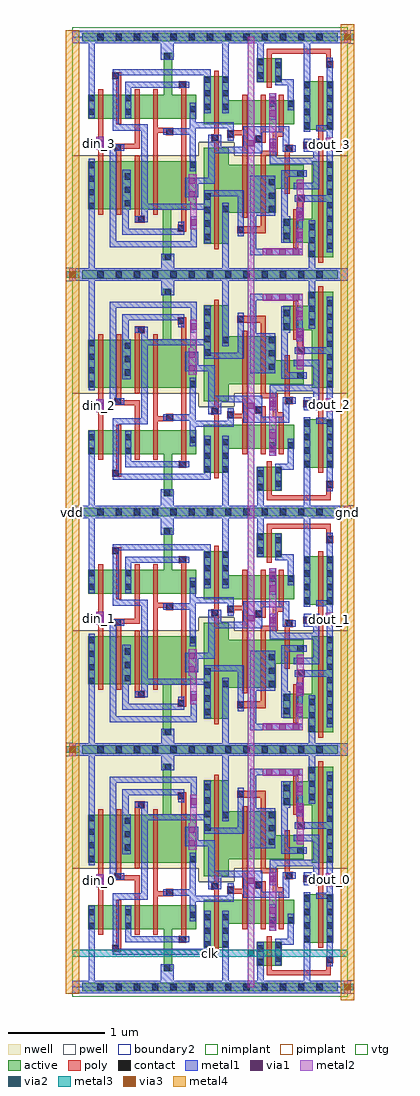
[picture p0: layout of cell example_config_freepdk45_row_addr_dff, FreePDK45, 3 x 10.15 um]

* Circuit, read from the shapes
.subckt example_config_freepdk45_row_addr_dff clk din_0 din_1 din_2 din_3 dout_0 dout_1 dout_2 dout_3 gnd vdd
M1 n1 din_0 gnd gnd nfet w=0.25u l=0.05u
M2 n2 din_1 gnd gnd nfet w=0.25u l=0.05u
M3 n3 din_2 gnd gnd nfet w=0.25u l=0.05u
M4 n4 din_3 gnd gnd nfet w=0.25u l=0.05u
M5 n5 n6 n1 gnd nfet w=0.25u l=0.05u
M6 n7 n8 n2 gnd nfet w=0.25u l=0.05u
M7 n9 n10 n3 gnd nfet w=0.25u l=0.05u
M8 n11 n12 n4 gnd nfet w=0.25u l=0.05u
M9 n13 clk n5 gnd nfet w=0.25u l=0.05u
M10 n14 clk n7 gnd nfet w=0.25u l=0.05u
M11 n15 clk n9 gnd nfet w=0.25u l=0.05u
M12 n16 clk n11 gnd nfet w=0.25u l=0.05u
M13 gnd n17 n13 gnd nfet w=0.25u l=0.05u
M14 gnd n18 n14 gnd nfet w=0.25u l=0.05u
M15 gnd n19 n15 gnd nfet w=0.25u l=0.05u
M16 gnd n20 n16 gnd nfet w=0.25u l=0.05u
M17 n17 n5 gnd gnd nfet w=0.25u l=0.05u
M18 n18 n7 gnd gnd nfet w=0.25u l=0.05u
M19 n19 n9 gnd gnd nfet w=0.25u l=0.05u
M20 n20 n11 gnd gnd nfet w=0.25u l=0.05u
M21 gnd clk n6 gnd nfet w=0.5u l=0.05u
M22 gnd clk n8 gnd nfet w=0.5u l=0.05u
M23 gnd clk n10 gnd nfet w=0.5u l=0.05u
M24 gnd clk n12 gnd nfet w=0.5u l=0.05u
M25 n21 n17 gnd gnd nfet w=0.25u l=0.05u
M26 n22 n18 gnd gnd nfet w=0.25u l=0.05u
M27 n23 n19 gnd gnd nfet w=0.25u l=0.05u
M28 n24 n20 gnd gnd nfet w=0.25u l=0.05u
M29 n25 clk n21 gnd nfet w=0.25u l=0.05u
M30 n26 clk n22 gnd nfet w=0.25u l=0.05u
M31 n27 clk n23 gnd nfet w=0.25u l=0.05u
M32 n28 clk n24 gnd nfet w=0.25u l=0.05u
M33 n29 dout_0 gnd gnd nfet w=0.25u l=0.05u
M34 n30 dout_1 gnd gnd nfet w=0.25u l=0.05u
M35 n31 dout_2 gnd gnd nfet w=0.25u l=0.05u
M36 n32 dout_3 gnd gnd nfet w=0.25u l=0.05u
M37 n29 n6 n25 gnd nfet w=0.25u l=0.05u
M38 n30 n8 n26 gnd nfet w=0.25u l=0.05u
M39 n31 n10 n27 gnd nfet w=0.25u l=0.05u
M40 n32 n12 n28 gnd nfet w=0.25u l=0.05u
M41 dout_0 n25 gnd gnd nfet w=0.5u l=0.05u
M42 dout_1 n26 gnd gnd nfet w=0.5u l=0.05u
M43 dout_2 n27 gnd gnd nfet w=0.5u l=0.05u
M44 dout_3 n28 gnd gnd nfet w=0.5u l=0.05u
M45 n33 din_0 vdd vdd pfet w=0.5u l=0.05u
M46 n34 din_1 vdd vdd pfet w=0.5u l=0.05u
M47 n35 din_2 vdd vdd pfet w=0.5u l=0.05u
M48 n36 din_3 vdd vdd pfet w=0.5u l=0.05u
M49 n5 clk n33 vdd pfet w=0.5u l=0.05u
M50 n7 clk n34 vdd pfet w=0.5u l=0.05u
M51 n9 clk n35 vdd pfet w=0.5u l=0.05u
M52 n11 clk n36 vdd pfet w=0.5u l=0.05u
M53 n37 n6 n5 vdd pfet w=0.5u l=0.05u
M54 n38 n8 n7 vdd pfet w=0.5u l=0.05u
M55 n39 n10 n9 vdd pfet w=0.5u l=0.05u
M56 n40 n12 n11 vdd pfet w=0.5u l=0.05u
M57 vdd n17 n37 vdd pfet w=0.5u l=0.05u
M58 vdd n18 n38 vdd pfet w=0.5u l=0.05u
M59 vdd n19 n39 vdd pfet w=0.5u l=0.05u
M60 vdd n20 n40 vdd pfet w=0.5u l=0.05u
M61 n17 n5 vdd vdd pfet w=0.5u l=0.05u
M62 n18 n7 vdd vdd pfet w=0.5u l=0.05u
M63 n19 n9 vdd vdd pfet w=0.5u l=0.05u
M64 n20 n11 vdd vdd pfet w=0.5u l=0.05u
M65 vdd clk n6 vdd pfet w=1u l=0.05u
M66 vdd clk n8 vdd pfet w=1u l=0.05u
M67 vdd clk n10 vdd pfet w=1u l=0.05u
M68 vdd clk n12 vdd pfet w=1u l=0.05u
M69 n41 n17 vdd vdd pfet w=0.5u l=0.05u
M70 n42 n18 vdd vdd pfet w=0.5u l=0.05u
M71 n43 n19 vdd vdd pfet w=0.5u l=0.05u
M72 n44 n20 vdd vdd pfet w=0.5u l=0.05u
M73 n25 n6 n41 vdd pfet w=0.5u l=0.05u
M74 n26 n8 n42 vdd pfet w=0.5u l=0.05u
M75 n27 n10 n43 vdd pfet w=0.5u l=0.05u
M76 n28 n12 n44 vdd pfet w=0.5u l=0.05u
M77 n45 clk n25 vdd pfet w=0.25u l=0.05u
M78 n46 clk n26 vdd pfet w=0.25u l=0.05u
M79 n47 clk n27 vdd pfet w=0.25u l=0.05u
M80 n48 clk n28 vdd pfet w=0.25u l=0.05u
M81 vdd dout_0 n45 vdd pfet w=0.25u l=0.05u
M82 vdd dout_1 n46 vdd pfet w=0.25u l=0.05u
M83 vdd dout_2 n47 vdd pfet w=0.25u l=0.05u
M84 vdd dout_3 n48 vdd pfet w=0.25u l=0.05u
M85 dout_0 n25 vdd vdd pfet w=1u l=0.05u
M86 dout_1 n26 vdd vdd pfet w=1u l=0.05u
M87 dout_2 n27 vdd vdd pfet w=1u l=0.05u
M88 dout_3 n28 vdd vdd pfet w=1u l=0.05u
.ends

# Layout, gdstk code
import gdstk
lib = gdstk.Library(unit=1e-6, precision=5e-10)
def R(c, l, rs):  # rectangles x0, y0, x1, y1
    for r in rs: c.add(gdstk.rectangle(r[:2], r[2:], *l))
def A(c, l, x, y, w, h, nx, ny, dx, dy):  # array of equal rectangles
    R(c, l, [(x+i*dx, y+j*dy, x+i*dx+w, y+j*dy+h) for i in range(nx) for j in range(ny)])
def P(c, l, *ps):  # polygons
    for p in ps: c.add(gdstk.Polygon(p, *l))
active = (1, 0)
pwell = (2, 0)
nwell = (3, 0)
nimplant = (4, 0)
pimplant = (5, 0)
vtg = (6, 0)
poly = (9, 0)
contact = (10, 0)
metal1 = (11, 0)
via1 = (12, 0)
metal2 = (13, 0)
via2 = (14, 0)
metal3 = (15, 0)
via3 = (16, 0)
metal4 = (17, 0)
boundary2 = (239, 0)

dff = lib.new_cell('dff')
A(dff, active, 0.2675, 0.6, 0.05, 0.25, 4, 1, 0.19, 0)
A(dff, active, 0.3175, 0.6, 0.14, 0.25, 3, 1, 0.19, 0)
A(dff, active, 1.7675, 0.6575, 0.05, 0.25, 3, 1, 0.19, 0)
A(dff, active, 0.2675, 1.2925, 0.05, 0.5, 4, 1, 0.19, 0)
A(dff, active, 0.3175, 1.2925, 0.14, 0.5, 3, 1, 0.19, 0)
R(dff, active, [(0.1,-0.045,2.76,0.045), (1.9175,0.2225,2.0225,0.4725), (2.0225,0.2225,2.0725,0.4725), (2.0725,0.2225,2.1775,0.4725), (1.3675,0.4075,1.4725,0.9075), (1.4725,0.4075,1.5225,0.9075), (2.4025,0.4625,2.5575,0.9625), (2.5575,0.4625,2.6075,0.9625), (2.6075,0.4625,2.7125,0.9625), (0.1625,0.6,0.2675,0.85), (1.1325,0.6,1.1825,0.85), (1.1825,0.6,1.2875,0.85), (1.8175,0.6575,1.9575,0.9075), (2.0075,0.6575,2.1475,0.9075), (2.1975,0.6575,2.3075,0.9075), (1.3675,1.15,1.4725,2.15), (1.4725,1.15,1.5225,2.15), (0.1625,1.2925,0.2675,1.7925), (1.1325,1.2925,1.1825,1.7925), (1.1825,1.2925,1.2875,1.7925), (2.5575,1.2925,2.6075,2.2925), (2.6075,1.2925,2.7125,2.2925), (1.7675,1.3275,1.8175,1.8275), (1.8175,1.3275,1.9575,1.8275), (1.9575,1.3275,2.0075,1.8275), (2.2075,1.3275,2.2575,1.5775), (2.2575,1.3275,2.4075,1.5775), (2.1925,1.8925,2.2975,2.1425), (2.2975,1.8925,2.3475,2.1425), (0.1,2.425,2.76,2.515)])
P(dff, active, [(0.8875,1.2925),(0.8875,1.7925),(0.9375,1.7925),(0.9375,2.3225),(1.0275,2.3225),(1.0275,1.7925),(1.1325,1.7925),(1.1325,1.2925)],
  [(1.5225,1.15),(1.5225,2.15),(1.6275,2.15),(1.6275,1.8275),(1.7675,1.8275),(1.7675,1.3275),(1.6275,1.3275),(1.6275,1.15)],
  [(2.0075,1.3275),(2.0075,1.8275),(2.1125,1.8275),(2.1125,1.5775),(2.2075,1.5775),(2.2075,1.3275)],
  [(2.4875,1.2925),(2.4875,1.8925),(2.3475,1.8925),(2.3475,2.1425),(2.4525,2.1425),(2.4525,2.2925),(2.5575,2.2925),(2.5575,1.2925)],
  [(0.9475,0.165),(0.9475,0.6),(0.8875,0.6),(0.8875,0.85),(1.1325,0.85),(1.1325,0.6),(1.0375,0.6),(1.0375,0.165)],
  [(1.5225,0.4075),(1.5225,0.9075),(1.7675,0.9075),(1.7675,0.6575),(1.6275,0.6575),(1.6275,0.4075)])
P(dff, pwell, [(0,-0.1),(0,1.235),(1.3125,1.235),(1.3125,1.095),(1.6825,1.095),(1.6825,1.235),(2.86,1.235),(2.86,-0.1)])
P(dff, nwell, [(1.3125,1.095),(1.3125,1.235),(0,1.235),(0,2.57),(2.86,2.57),(2.86,1.235),(1.6825,1.235),(1.6825,1.095)])
A(dff, nimplant, 0.2675, 0.6, 0.05, 0.25, 4, 1, 0.19, 0)
A(dff, nimplant, 0.3175, 0.6, 0.14, 0.25, 3, 1, 0.19, 0)
A(dff, nimplant, 1.7675, 0.6575, 0.05, 0.25, 3, 1, 0.19, 0)
R(dff, nimplant, [(1.9175,0.2225,2.0225,0.4725), (2.0225,0.2225,2.0725,0.4725), (2.0725,0.2225,2.1775,0.4725), (1.3675,0.4075,1.4725,0.9075), (1.4725,0.4075,1.5225,0.9075), (2.4025,0.4625,2.5575,0.9625), (2.5575,0.4625,2.6075,0.9625), (2.6075,0.4625,2.7125,0.9625), (0.1625,0.6,0.2675,0.85), (1.1325,0.6,1.1825,0.85), (1.1825,0.6,1.2875,0.85), (1.8175,0.6575,1.9575,0.9075), (2.0075,0.6575,2.1475,0.9075), (2.1975,0.6575,2.3075,0.9075), (0.1,2.425,2.76,2.515)])
P(dff, nimplant, [(0.9475,0.165),(0.9475,0.6),(0.8875,0.6),(0.8875,0.85),(1.1325,0.85),(1.1325,0.6),(1.0375,0.6),(1.0375,0.165)],
  [(1.5225,0.4075),(1.5225,0.9075),(1.7675,0.9075),(1.7675,0.6575),(1.6275,0.6575),(1.6275,0.4075)])
A(dff, pimplant, 0.2675, 1.2925, 0.05, 0.5, 4, 1, 0.19, 0)
A(dff, pimplant, 0.3175, 1.2925, 0.14, 0.5, 3, 1, 0.19, 0)
R(dff, pimplant, [(0.1,-0.045,2.76,0.045), (1.3675,1.15,1.4725,2.15), (1.4725,1.15,1.5225,2.15), (0.1625,1.2925,0.2675,1.7925), (1.1325,1.2925,1.1825,1.7925), (1.1825,1.2925,1.2875,1.7925), (2.5575,1.2925,2.6075,2.2925), (2.6075,1.2925,2.7125,2.2925), (1.7675,1.3275,1.8175,1.8275), (1.8175,1.3275,1.9575,1.8275), (1.9575,1.3275,2.0075,1.8275), (2.2075,1.3275,2.2575,1.5775), (2.2575,1.3275,2.4075,1.5775), (2.1925,1.8925,2.2975,2.1425), (2.2975,1.8925,2.3475,2.1425)])
P(dff, pimplant, [(0.8875,1.2925),(0.8875,1.7925),(0.9375,1.7925),(0.9375,2.3225),(1.0275,2.3225),(1.0275,1.7925),(1.1325,1.7925),(1.1325,1.2925)],
  [(1.5225,1.15),(1.5225,2.15),(1.6275,2.15),(1.6275,1.8275),(1.7675,1.8275),(1.7675,1.3275),(1.6275,1.3275),(1.6275,1.15)],
  [(2.0075,1.3275),(2.0075,1.8275),(2.1125,1.8275),(2.1125,1.5775),(2.2075,1.5775),(2.2075,1.3275)],
  [(2.4875,1.2925),(2.4875,1.8925),(2.3475,1.8925),(2.3475,2.1425),(2.4525,2.1425),(2.4525,2.2925),(2.5575,2.2925),(2.5575,1.2925)])
R(dff, vtg, [(0,-0.1,2.86,2.57)])
A(dff, poly, 0.2675, 0.6, 0.05, 0.25, 4, 1, 0.19, 0)
A(dff, poly, 1.7675, 0.6025, 0.05, 0.055, 3, 1, 0.19, 0)
A(dff, poly, 1.7675, 0.6575, 0.05, 0.25, 3, 1, 0.19, 0)
A(dff, poly, 0.2675, 1.2925, 0.05, 0.5, 4, 1, 0.19, 0)
R(dff, poly, [(2.0225,0.2225,2.0725,0.4725), (1.4725,0.3525,1.5225,0.4075), (1.4725,0.4075,1.5225,0.9075), (2.5575,0.4075,2.6075,0.4625), (2.5575,0.4625,2.6075,0.9625), (2.0225,0.4725,2.0725,0.5275), (0.2675,0.545,0.3175,0.6), (0.6475,0.545,0.6975,0.6), (0.8375,0.545,0.8875,0.6), (1.1325,0.6,1.1825,0.85), (0.4575,0.85,0.5075,0.905), (1.1325,0.85,1.1825,1.2925), (1.4725,1.15,1.5225,2.15), (0.6475,1.2375,0.6975,1.2925), (1.1325,1.2925,1.1825,1.7925), (2.5575,1.2925,2.6075,2.2925), (1.7675,1.3275,1.8175,1.8275), (1.9575,1.3275,2.0075,1.8275), (2.2075,1.3275,2.2575,1.5775), (2.2075,1.5775,2.2575,1.6325), (0.2675,1.7925,0.3175,1.8475), (0.4575,1.7925,0.5075,1.8475), (0.8375,1.7925,0.8875,1.8475), (1.7675,1.8275,1.8175,1.8825), (2.2975,1.8925,2.3475,2.1425), (2.2975,2.1425,2.3475,2.1975), (1.4725,2.15,1.5225,2.205), (2.5575,2.2925,2.6075,2.3475)])
P(dff, poly, [(0.2675,0.85),(0.2675,1.0675),(0.2425,1.0675),(0.2425,1.1425),(0.2675,1.1425),(0.2675,1.2925),(0.3175,1.2925),(0.3175,0.85)],
  [(0.4125,0.365),(0.4125,0.44),(0.4575,0.44),(0.4575,0.6),(0.5075,0.6),(0.5075,0.365)],
  [(0.6475,1.7925),(0.6475,1.9325),(0.7525,1.9325),(0.7525,1.8575),(0.6975,1.8575),(0.6975,1.7925)],
  [(0.6475,0.85),(0.6475,1.1125),(0.4325,1.1125),(0.4325,1.1875),(0.4575,1.1875),(0.4575,1.2925),(0.5075,1.2925),(0.5075,1.1625),(0.6975,1.1625),(0.6975,0.85)],
  [(0.8375,0.85),(0.8375,1.2925),(0.8875,1.2925),(0.8875,0.995),(0.9725,0.995),(0.9725,1.02),(1.0475,1.02),(1.0475,0.945),(0.8875,0.945),(0.8875,0.85)],
  [(1.1325,1.7925),(1.1325,1.9525),(1.0925,1.9525),(1.0925,2.0275),(1.1825,2.0275),(1.1825,1.7925)],
  [(1.1075,0.46),(1.1075,0.535),(1.1325,0.535),(1.1325,0.6),(1.1825,0.6),(1.1825,0.46)],
  [(1.4725,0.9075),(1.4725,1.01),(1.4425,1.01),(1.4425,1.085),(1.4725,1.085),(1.4725,1.15),(1.5225,1.15),(1.5225,0.9075)],
  [(1.7675,0.9075),(1.7675,0.9725),(1.6075,0.9725),(1.6075,1.0475),(1.6825,1.0475),(1.6825,1.0225),(1.7675,1.0225),(1.7675,1.3275),(1.8175,1.3275),(1.8175,0.9075)],
  [(1.9575,1.8275),(1.9575,1.9675),(1.7125,1.9675),(1.7125,2.0425),(2.0075,2.0425),(2.0075,1.8275)],
  [(1.9575,0.9075),(1.9575,1.0225),(1.9025,1.0225),(1.9025,1.0975),(2.0075,1.0975),(2.0075,0.9075)],
  [(2.3425,1.6425),(2.3425,1.7925),(2.2975,1.7925),(2.2975,1.8925),(2.3475,1.8925),(2.3475,1.8425),(2.3925,1.8425),(2.3925,1.7175),(2.4175,1.7175),(2.4175,1.6425)],
  [(2.2075,1.1225),(2.2075,1.3275),(2.2575,1.3275),(2.2575,1.1975),(2.2925,1.1975),(2.2925,1.1225)],
  [(2.0225,0.1225),(2.0225,0.2225),(2.0725,0.2225),(2.0725,0.1725),(2.6375,0.1725),(2.6375,0.3225),(2.7125,0.3225),(2.7125,0.2475),(2.6875,0.2475),(2.6875,0.1225)],
  [(2.1475,0.9075),(2.1475,0.9875),(2.0825,0.9875),(2.0825,1.1825),(1.9575,1.1825),(1.9575,1.3275),(2.0075,1.3275),(2.0075,1.2325),(2.1325,1.2325),(2.1325,1.0375),(2.1975,1.0375),(2.1975,0.9075)],
  [(2.5575,0.9625),(2.5575,1.0875),(2.3975,1.0875),(2.3975,1.1625),(2.4725,1.1625),(2.4725,1.1375),(2.5575,1.1375),(2.5575,1.2925),(2.6075,1.2925),(2.6075,0.9625)])
A(dff, contact, 0.2575, -0.0325, 0.065, 0.065, 13, 2, 0.19, 2.47)
A(dff, contact, 1.3725, 0.4125, 0.065, 0.065, 1, 3, 0, 0.14)
A(dff, contact, 1.5575, 0.4125, 0.065, 0.065, 1, 3, 0, 0.14)
A(dff, contact, 2.4075, 0.4675, 0.065, 0.065, 1, 4, 0, 0.14)
A(dff, contact, 2.6425, 0.4675, 0.065, 0.065, 1, 4, 0, 0.14)
A(dff, contact, 2.6425, 1.2975, 0.065, 0.065, 1, 7, 0, 0.14)
A(dff, contact, 0.1675, 1.3025, 0.065, 0.065, 1, 4, 0, 0.14)
A(dff, contact, 0.5425, 1.4175, 0.065, 0.065, 1, 3, 0, 0.14)
A(dff, contact, 2.0425, 1.4775, 0.065, 0.065, 1, 3, 0, 0.14)
A(dff, contact, 1.3725, 1.6275, 0.065, 0.065, 1, 4, 0, 0.14)
A(dff, contact, 2.4575, 1.9425, 0.065, 0.065, 1, 3, 0, 0.14)
R(dff, contact, [(0.9525,0.17,1.0175,0.235), (1.9225,0.2275,1.9875,0.2925), (2.6425,0.2525,2.7075,0.3175), (2.1075,0.2625,2.1725,0.3275), (1.9225,0.3675,1.9875,0.4325), (0.4175,0.37,0.4825,0.435), (2.1075,0.4025,2.1725,0.4675), (1.1125,0.465,1.1775,0.53), (0.1675,0.605,0.2325,0.67), (0.5475,0.605,0.6125,0.67), (2.0475,0.6625,2.1125,0.7275), (2.2375,0.6625,2.3025,0.7275), (1.2175,0.72,1.2825,0.785), (0.1675,0.745,0.2325,0.81), (0.5475,0.745,0.6125,0.81), (0.9775,0.95,1.0425,1.015), (1.6125,0.9775,1.6775,1.0425), (1.4475,1.015,1.5125,1.08), (1.9075,1.0275,1.9725,1.0925), (0.2475,1.0725,0.3125,1.1375), (2.4025,1.0925,2.4675,1.1575), (0.4375,1.1175,0.5025,1.1825), (2.2225,1.1275,2.2875,1.1925), (1.2175,1.2975,1.2825,1.3625), (2.3375,1.3875,2.4025,1.4525), (2.3475,1.6475,2.4125,1.7125), (1.5575,1.7575,1.6225,1.8225), (0.6825,1.8625,0.7475,1.9275), (2.1975,1.8975,2.2625,1.9625), (1.0975,1.9575,1.1625,2.0225), (1.7175,1.9725,1.7825,2.0375), (2.1975,2.0375,2.2625,2.1025), (0.9575,2.2525,1.0225,2.3175)])
R(dff, metal1, [(0,-0.065,2.86,0.065), (0,-0.065,2.86,0.065), (2.0475,0.5875,2.1125,0.8625), (2.6425,0.915,2.7075,1.1275), (1.7775,0.9275,1.9725,1.2075), (0.245,1.0375,0.3225,1.1725), (2.6325,1.0475,2.71,1.1825), (2.3275,1.7775,2.3925,2.1275), (0,2.405,2.76,2.535), (0,2.405,2.76,2.535)])
P(dff, metal1, [(0.1675,1.2675),(0.1675,2.405),(0.1,2.405),(0.1,2.535),(2.86,2.535),(2.86,2.405),(2.5225,2.405),(2.5225,1.9075),(2.4575,1.9075),(2.4575,2.405),(1.6225,2.405),(1.6225,1.7225),(1.5575,1.7225),(1.5575,2.405),(1.0575,2.405),(1.0575,2.2525),(0.9225,2.2525),(0.9225,2.405),(0.2325,2.405),(0.2325,1.2675)],
  [(0.1,-0.065),(0.1,0.065),(0.1675,0.065),(0.1675,0.845),(0.2325,0.845),(0.2325,0.065),(0.9175,0.065),(0.9175,0.235),(1.0525,0.235),(1.0525,0.065),(1.5575,0.065),(1.5575,0.7925),(1.6225,0.7925),(1.6225,0.065),(1.9225,0.065),(1.9225,0.4675),(1.9875,0.4675),(1.9875,0.065),(2.4075,0.065),(2.4075,0.9875),(2.4725,0.9875),(2.4725,0.065),(2.76,0.065),(2.76,-0.065)],
  [(0.4175,0.335),(0.4175,0.975),(0.7175,0.975),(0.7175,1.8625),(0.6475,1.8625),(0.6475,1.9275),(0.7825,1.9275),(0.7825,1.7975),(1.3725,1.7975),(1.3725,2.1475),(1.4375,2.1475),(1.4375,1.6575),(1.7175,1.6575),(1.7175,2.0725),(1.7825,2.0725),(1.7825,1.5925),(1.3725,1.5925),(1.3725,1.7325),(0.7825,1.7325),(0.7825,0.91),(0.4825,0.91),(0.4825,0.4),(1.3725,0.4),(1.3725,0.7925),(1.4375,0.7925),(1.4375,0.335)],
  [(1.7775,0.9275),(1.7775,1.1425),(1.5475,1.1425),(1.5475,1.015),(1.4125,1.015),(1.4125,1.4625),(1.1725,1.4625),(1.1725,1.6675),(1.3075,1.6675),(1.3075,1.5275),(1.4775,1.5275),(1.4775,1.2075),(1.9725,1.2075),(1.9725,0.9925),(2.1875,0.9925),(2.1875,1.1925),(2.3225,1.1925),(2.3225,1.1275),(2.2525,1.1275),(2.2525,0.9275)],
  [(0.3875,1.1175),(0.3875,2.1875),(1.2925,2.1875),(1.2925,1.8625),(1.2275,1.8625),(1.2275,2.1225),(0.4525,2.1225),(0.4525,1.1825),(0.5375,1.1825),(0.5375,1.1175)],
  [(0.5175,1.3825),(0.5175,2.0575),(1.1625,2.0575),(1.1625,1.9225),(1.0975,1.9225),(1.0975,1.9925),(0.5825,1.9925),(0.5825,1.7975),(0.6075,1.7975),(0.6075,1.3825)],
  [(0.5475,0.465),(0.5475,0.845),(0.6125,0.845),(0.6125,0.53),(1.2125,0.53),(1.2125,0.465)],
  [(1.2175,0.685),(1.2175,0.95),(0.9425,0.95),(0.9425,1.015),(1.2175,1.015),(1.2175,1.3975),(1.2825,1.3975),(1.2825,0.95),(1.6125,0.95),(1.6125,1.0775),(1.6775,1.0775),(1.6775,0.885),(1.2825,0.885),(1.2825,0.685)],
  [(1.8475,1.4425),(1.8475,2.2675),(2.3925,2.2675),(2.3925,2.2025),(1.9125,2.2025),(1.9125,1.8575),(2.1075,1.8575),(2.1075,1.4425)],
  [(2.0525,1.0575),(2.0525,1.3225),(2.5025,1.3225),(2.5025,1.5175),(2.3025,1.5175),(2.3025,1.5825),(2.5675,1.5825),(2.5675,1.0575),(2.4025,1.0575),(2.4025,1.1925),(2.5025,1.1925),(2.5025,1.2575),(2.1175,1.2575),(2.1175,1.0575)],
  [(2.1725,1.3875),(2.1725,2.1375),(2.2625,2.1375),(2.2625,1.8625),(2.2375,1.8625),(2.2375,1.4525),(2.4375,1.4525),(2.4375,1.3875)],
  [(2.6425,0.2175),(2.6425,0.9175),(2.5375,0.9175),(2.5375,0.9825),(2.6425,0.9825),(2.6425,1.6475),(2.3125,1.6475),(2.3125,1.7125),(2.6425,1.7125),(2.6425,2.2375),(2.7075,2.2375),(2.7075,0.2175)],
  [(2.1075,0.2275),(2.1075,0.5025),(2.2375,0.5025),(2.2375,0.7625),(2.3025,0.7625),(2.3025,0.4375),(2.1725,0.4375),(2.1725,0.2275)])
A(dff, via1, 2.0125, 2.2025, 0.065, 0.065, 3, 1, 0.14, 0)
R(dff, via1, [(2.0475,0.6225,2.1125,0.6875), (2.0475,0.7625,2.1125,0.8275), (0.2475,1.0725,0.3125,1.1375), (1.825,1.0725,1.89,1.1375), (2.64,1.0825,2.705,1.1475), (2.0525,1.0925,2.1175,1.1575), (1.2075,1.4625,1.2725,1.5275), (2.3375,1.5175,2.4025,1.5825), (1.2075,1.6025,1.2725,1.6675), (2.3275,1.8125,2.3925,1.8775), (1.2275,1.8975,1.2925,1.9625), (2.3275,2.0275,2.3925,2.0925)])
R(dff, metal2, [(2.0475,0.5875,2.1175,1.1925), (0.245,1.0375,0.3225,1.1725), (0.245,1.0375,0.3225,1.1725), (1.82,1.0375,1.8975,1.1725), (1.82,1.0375,1.8975,1.1725), (2.6325,1.0475,2.71,1.1825), (2.6325,1.0475,2.71,1.1825)])
P(dff, metal2, [(1.2075,1.4275),(1.2075,1.7025),(1.2225,1.7025),(1.2225,1.9975),(1.2925,1.9975),(1.2925,1.4275)],
  [(2.3225,1.9925),(2.3225,2.1975),(1.9775,2.1975),(1.9775,2.2675),(2.3925,2.2675),(2.3925,1.9925)],
  [(2.3325,1.4825),(2.3325,1.7775),(2.3275,1.7775),(2.3275,1.9125),(2.4025,1.9125),(2.4025,1.4825)])
R(dff, boundary2, [(0,0,2.86,2.47)])
dff.add(gdstk.Label('clk', (1.865,1.15), layer=13, texttype=0))
dff.add(gdstk.Label('D', (0.295,1.15), layer=13, texttype=0))
dff.add(gdstk.Label('Q', (2.685,1.1), layer=13, texttype=0))
dff.add(gdstk.Label('gnd', (1.645,0.0425), layer=11, texttype=0))
dff.add(gdstk.Label('vdd', (2.035,2.5325), layer=11, texttype=0))
dff.add(gdstk.Label('D', (0.284,1.105), layer=13, texttype=0))
dff.add(gdstk.Label('Q', (2.671,1.115), layer=13, texttype=0))
dff.add(gdstk.Label('clk', (1.859,1.105), layer=13, texttype=0))
dff.add(gdstk.Label('vdd', (1.38,2.47), layer=11, texttype=0))
dff.add(gdstk.Label('gnd', (1.43,0), layer=11, texttype=0))

example_config_freepdk45 = lib.new_cell('example_config_freepdk45_contact_17')
R(example_config_freepdk45, metal1, [(0,0.035,0.135,0.1)])
R(example_config_freepdk45, via1, [(0.035,0.035,0.1,0.1)])
R(example_config_freepdk45, metal2, [(0.0325,0,0.1025,0.135)])
R(example_config_freepdk45, boundary2, [(0,0,0.135,0.135)])

c_example_config_freepdk45 = lib.new_cell('example_config_freepdk45_contact_18')
R(c_example_config_freepdk45, metal2, [(0.0325,0,0.1025,0.135)])
R(c_example_config_freepdk45, via2, [(0.035,0.035,0.1,0.1)])
R(c_example_config_freepdk45, metal3, [(0,0.0325,0.135,0.1025)])
R(c_example_config_freepdk45, boundary2, [(0,0,0.135,0.135)])

c_example_config_freepdk45_ = lib.new_cell('example_config_freepdk45_contact_21')
R(c_example_config_freepdk45_, metal3, [(0,0.035,0.14,0.105)])
R(c_example_config_freepdk45_, via3, [(0.035,0.035,0.105,0.105)])
R(c_example_config_freepdk45_, metal4, [(0,0,0.14,0.14)])
R(c_example_config_freepdk45_, boundary2, [(0,0,0.14,0.14)])

c_example_config_freepdk45__ = lib.new_cell('example_config_freepdk45_row_addr_dff')
R(c_example_config_freepdk45__, metal2, [(1.82,0,1.89,9.88), (0.245,1.0375,0.3225,1.1725), (2.6325,1.0475,2.71,1.1825), (2.6325,3.7575,2.71,3.8925), (0.245,3.7675,0.3225,3.9025), (0.245,5.9775,0.3225,6.1125), (2.6325,5.9875,2.71,6.1225), (2.6325,8.6975,2.71,8.8325), (0.245,8.7075,0.3225,8.8425)])
R(c_example_config_freepdk45__, metal3, [(0,0.315,2.86,0.385)])
R(c_example_config_freepdk45__, metal4, [(2.79,-0.135,2.93,10.015), (-0.07,-0.07,0.07,9.95)])
R(c_example_config_freepdk45__, boundary2, [(0,0,2.86,9.88)])
c_example_config_freepdk45__.add(gdstk.Reference(dff, (0,0)))
c_example_config_freepdk45__.add(gdstk.Reference(dff, (0,4.94), x_reflection=True))
c_example_config_freepdk45__.add(gdstk.Reference(dff, (0,4.94)))
c_example_config_freepdk45__.add(gdstk.Reference(dff, (0,9.88), x_reflection=True))
c_example_config_freepdk45__.add(gdstk.Reference(example_config_freepdk45, (-0.0675,2.4025)))
c_example_config_freepdk45__.add(gdstk.Reference(c_example_config_freepdk45, (-0.0675,2.4025)))
c_example_config_freepdk45__.add(gdstk.Reference(c_example_config_freepdk45_, (-0.07,2.4)))
c_example_config_freepdk45__.add(gdstk.Reference(example_config_freepdk45, (-0.0675,2.4025)))
c_example_config_freepdk45__.add(gdstk.Reference(c_example_config_freepdk45, (-0.0675,2.4025)))
c_example_config_freepdk45__.add(gdstk.Reference(c_example_config_freepdk45_, (-0.07,2.4)))
c_example_config_freepdk45__.add(gdstk.Reference(example_config_freepdk45, (-0.0675,7.3425)))
c_example_config_freepdk45__.add(gdstk.Reference(c_example_config_freepdk45, (-0.0675,7.3425)))
c_example_config_freepdk45__.add(gdstk.Reference(c_example_config_freepdk45_, (-0.07,7.34)))
c_example_config_freepdk45__.add(gdstk.Reference(example_config_freepdk45, (-0.0675,7.3425)))
c_example_config_freepdk45__.add(gdstk.Reference(c_example_config_freepdk45, (-0.0675,7.3425)))
c_example_config_freepdk45__.add(gdstk.Reference(c_example_config_freepdk45_, (-0.07,7.34)))
c_example_config_freepdk45__.add(gdstk.Reference(example_config_freepdk45, (2.7925,-0.0675)))
c_example_config_freepdk45__.add(gdstk.Reference(c_example_config_freepdk45, (2.7925,-0.0675)))
c_example_config_freepdk45__.add(gdstk.Reference(c_example_config_freepdk45_, (2.79,-0.07)))
c_example_config_freepdk45__.add(gdstk.Reference(example_config_freepdk45, (2.7925,4.8725)))
c_example_config_freepdk45__.add(gdstk.Reference(c_example_config_freepdk45, (2.7925,4.8725)))
c_example_config_freepdk45__.add(gdstk.Reference(c_example_config_freepdk45_, (2.79,4.87)))
c_example_config_freepdk45__.add(gdstk.Reference(example_config_freepdk45, (2.7925,4.8725)))
c_example_config_freepdk45__.add(gdstk.Reference(c_example_config_freepdk45, (2.7925,4.8725)))
c_example_config_freepdk45__.add(gdstk.Reference(c_example_config_freepdk45_, (2.79,4.87)))
c_example_config_freepdk45__.add(gdstk.Reference(example_config_freepdk45, (2.7925,9.8125)))
c_example_config_freepdk45__.add(gdstk.Reference(c_example_config_freepdk45, (2.7925,9.8125)))
c_example_config_freepdk45__.add(gdstk.Reference(c_example_config_freepdk45_, (2.79,9.81)))
c_example_config_freepdk45__.add(gdstk.Reference(c_example_config_freepdk45, (1.79,0.2825)))
c_example_config_freepdk45__.add(gdstk.Label('vdd', (0,4.94), layer=17, texttype=0))
c_example_config_freepdk45__.add(gdstk.Label('gnd', (2.86,4.94), layer=17, texttype=0))
c_example_config_freepdk45__.add(gdstk.Label('din_0', (0.284,1.105), layer=13, texttype=0))
c_example_config_freepdk45__.add(gdstk.Label('dout_0', (2.671,1.115), layer=13, texttype=0))
c_example_config_freepdk45__.add(gdstk.Label('din_1', (0.284,3.835), layer=13, texttype=0))
c_example_config_freepdk45__.add(gdstk.Label('dout_1', (2.671,3.825), layer=13, texttype=0))
c_example_config_freepdk45__.add(gdstk.Label('din_2', (0.284,6.045), layer=13, texttype=0))
c_example_config_freepdk45__.add(gdstk.Label('dout_2', (2.671,6.055), layer=13, texttype=0))
c_example_config_freepdk45__.add(gdstk.Label('din_3', (0.284,8.775), layer=13, texttype=0))
c_example_config_freepdk45__.add(gdstk.Label('dout_3', (2.671,8.765), layer=13, texttype=0))
c_example_config_freepdk45__.add(gdstk.Label('clk', (1.43,0.35), layer=15, texttype=0))

lib.write_gds('example_config_freepdk45_row_addr_dff.gds')
